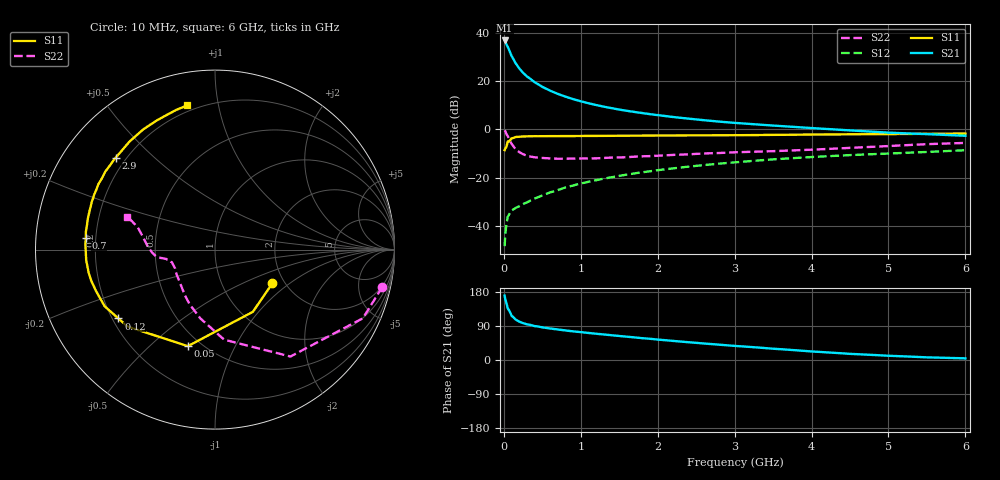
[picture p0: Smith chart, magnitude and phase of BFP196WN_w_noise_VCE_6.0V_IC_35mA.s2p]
! Infineon Technologies  Discrete & RF Semiconductors
! BFP196WN
! VCE =  6.0 V,  IC =  35 mA
! Common Emitter S-Parameters:  Jan 2017
# GHz  S  MA  R  50
!  f  S11  S21  S12  S22
! GHz  MAG  ANG  MAG  ANG  MAG  ANG  MAG  ANG
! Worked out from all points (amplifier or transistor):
!   77 points, 10 MHz to 6 GHz, reference 50 ohm
!   highest |S21| = 36.8 dB at 10 MHz (marker M1)
!   |S21| within 3 dB of that: start of sweep to 56.05 MHz
!   unconditionally stable (mu >= 1): 697.9 MHz to 2.705 GHz
!   at 130 MHz: K = 0.44, MSG = 30.9 dB, |S12| = -33.0 dB
!   at 2.2 GHz: K = 1.02, MAG = 9.7 dB, |S12| = -16.2 dB
!   at 6 GHz: K = 0.90, MSG = 3.0 dB, |S12| = -8.7 dB
!   lowest NFmin = 1.11 dB at 450 MHz
!   S11 on the Smith chart (normalised r, x): 10 MHz: 1.73, -0.76; 50 MHz: 0.43, -0.67; 120 MHz: 0.22, -0.31; 700 MHz: 0.16, +0.04; 2.9 GHz: 0.16, +0.38; 6 GHz: 0.17, +0.81
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0.01  0.3708 -30.5  69.26 170.0  0.0038 80.5  0.955 -12.6
0.02  0.4059 -58.7  64.72 159.3  0.007 75.4  0.9086 -24.9
0.05  0.5587 -105.7  51.49 136.3  0.0153 54.8  0.729 -54.8
0.1  0.6489 -138.6  33.13 116.7  0.0206 46.5  0.5043 -84.2
0.12  0.6608 -144.5  29.31 113.6  0.0217 45.7  0.4546 -90.2
0.15  0.691 -152.8  23.82 107.1  0.0234 44.6  0.3924 -101.9
0.2  0.702 -160.8  18.29 101.3  0.0256 47.3  0.3375 -114.5
0.25  0.7111 -166.0  14.83 97.2  0.0283 48.7  0.3056 -123.1
0.3  0.7158 -169.9  12.48 94.3  0.0307 51.1  0.2828 -130.4
0.4  0.72 -175.3  9.449 89.6  0.0367 56.2  0.2634 -139.8
0.5  0.7202 -179.1  7.578 86.2  0.0426 58.8  0.2552 -146.7
0.6  0.7226 177.7  6.337 83.2  0.0493 61.3  0.2499 -151.7
0.7  0.7222 175.0  5.426 80.6  0.055 63.1  0.2458 -155.0
0.9  0.7258 170.1  4.222 75.6  0.0686 65.2  0.2476 -159.5
1.1  0.7296 166.1  3.467 71.4  0.0819 65.8  0.2495 -163.0
1.5  0.7365 159.0  2.564 63.4  0.1086 65.4  0.2612 -167.0
2.1  0.7445 149.2  1.883 52.2  0.1488 62.7  0.2894 -170.1
2.9  0.7537 137.1  1.401 38.8  0.2005 57.3  0.3287 -173.4
3.1  0.7565 134.1  1.326 35.9  0.213 55.7  0.338 -175.0
4.1  0.7809 119.6  1.039 21.4  0.2716 47.6  0.385 174.8
5.1  0.7989 108.8  0.841 10.4  0.3199 40.2  0.4586 163.1
6  0.818 100.8  0.734 4.3  0.3689 34.2  0.5232 159.7
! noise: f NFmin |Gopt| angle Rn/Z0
0.45  1.11  0.47  179  0.05
0.9  1.24  0.53  186  0.05
1.9  2.17  0.68  212  0.13
2.4  2.91  0.69  219  0.25
